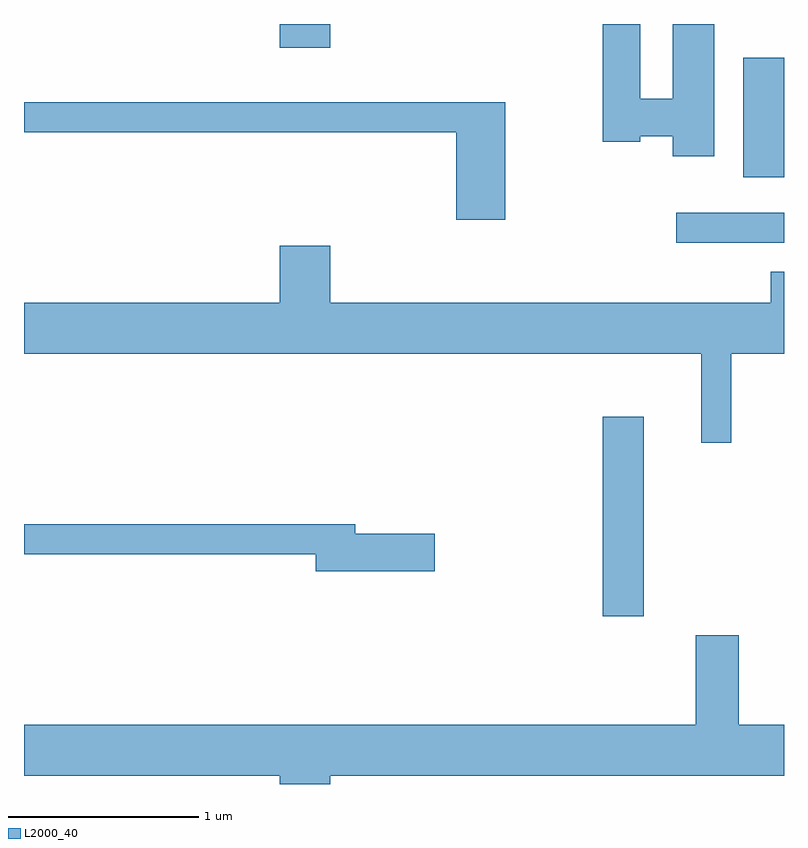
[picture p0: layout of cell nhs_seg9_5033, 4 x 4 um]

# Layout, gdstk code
import gdstk
lib = gdstk.Library(unit=1e-6, precision=1e-09)
def R(c, l, rs):  # rectangles x0, y0, x1, y1
    for r in rs: c.add(gdstk.rectangle(r[:2], r[2:], *l))
def P(c, l, *ps):  # polygons
    for p in ps: c.add(gdstk.Polygon(p, *l))
L2000_40 = (2000, 40)

nhs_seg9_5033 = lib.new_cell('nhs_seg9_5033')
R(nhs_seg9_5033, L2000_40, [(336.656,1999.316,336.874,2000.364), (337.043,2001.281,337.611,2001.439), (337.396,2001.626,337.611,2002.254), (334.956,2002.306,335.224,2002.432)])
P(nhs_seg9_5033, L2000_40, [(337.244,2002.432),(337.026,2002.432),(337.026,2002.039),(336.854,2002.039),(336.854,2002.432),(336.656,2002.432),(336.656,2001.811),(336.854,2001.811),(336.854,2001.841),(337.026,2001.841),(337.026,2001.736),(337.244,2001.736)],
  [(336.144,2002.019),(333.611,2002.019),(333.611,2001.861),(335.886,2001.861),(335.886,2001.401),(336.144,2001.401)],
  [(337.334,2000.696),(337.611,2000.696),(337.611,2001.129),(337.541,2001.129),(337.541,2000.964),(335.224,2000.964),(335.224,2001.264),(334.956,2001.264),(334.956,2000.964),(333.611,2000.964),(333.611,2000.696),(337.176,2000.696),(337.176,2000.228),(337.334,2000.228)],
  [(335.774,1999.749),(335.354,1999.749),(335.354,1999.799),(333.611,1999.799),(333.611,1999.641),(335.146,1999.641),(335.146,1999.551),(335.774,1999.551)],
  [(335.224,1998.476),(337.611,1998.476),(337.611,1998.744),(337.374,1998.744),(337.374,1999.214),(337.146,1999.214),(337.146,1998.744),(333.611,1998.744),(333.611,1998.476),(334.956,1998.476),(334.956,1998.432),(335.224,1998.432)])

lib.write_gds('nhs_seg9_5033.gds')
